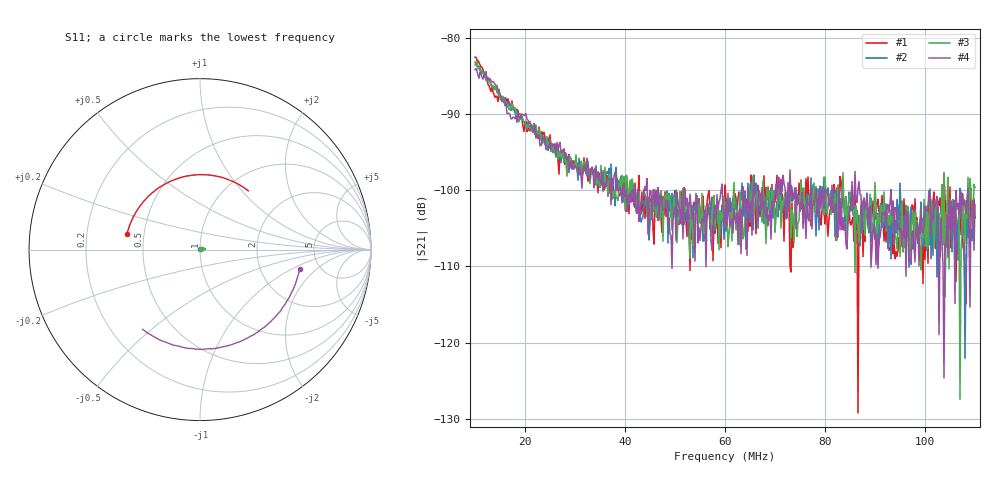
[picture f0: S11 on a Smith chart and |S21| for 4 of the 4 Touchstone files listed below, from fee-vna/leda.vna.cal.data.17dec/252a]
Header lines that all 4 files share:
! Anritsu VNA Master:  Model: MS2036C/10/77
! SN:  1601066
! Existing Calibration Information:
! TYPE:  Current Settings,  Active Cal Settings
! # POINTS:  501,  501
! START FREQ:  10.000 MHz,  10.000 MHz
! STOP FREQ:  110.000 MHz,  110.000 MHz
! SOURCE POWER:  High,  High
! IFBW:  100 Hz,  100 Hz
! AVG FACTOR:  1 ,  1
! REF PLANE 1:  0 mm,  0 mm
! REF PLANE 2:  0 mm,  0 mm
! CAL TYPE:  Full S11,  Full S11
! CAL METHOD:  SOLT,  SOLT
! CAL LINE TYPE:  Coax,  Coax
! DUT PORT 1:  K-Conn(F),  K-Conn(F)
! DUT PORT 2:  K-Conn(F),  K-Conn(F)
! CAL STATUS:  OK: Accuracy High,  --
# GHZ S DB R 50.0
! FREQ.GHZ  S11DB  S11A  S21DB  S21A  S12DB  S12A  S22DB  S22A
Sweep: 10 MHz to 110 MHz
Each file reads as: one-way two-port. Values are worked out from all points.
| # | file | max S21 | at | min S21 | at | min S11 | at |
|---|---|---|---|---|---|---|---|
| 1 | 252.ew.sma.20ohm1.s2p | -82.57 dB | 10 MHz | -129.2 dB | 86.6 MHz | -7.3 dB | 35.2 MHz |
| 2 | 252.ew.sma.50ohm1.s2p | -83.50 dB | 10.2 MHz | -122.1 dB | 108 MHz | -45.2 dB | 10 MHz |
| 3 | 252.ew.sma.50ohm2.s2p | -83.07 dB | 10.4 MHz | -127.5 dB | 107 MHz | -45.1 dB | 10 MHz |
| 4 | 252.ew.sma.200ohm2.s2p | -84.06 dB | 10.2 MHz | -124.7 dB | 103.8 MHz | -4.8 dB | 110 MHz |
